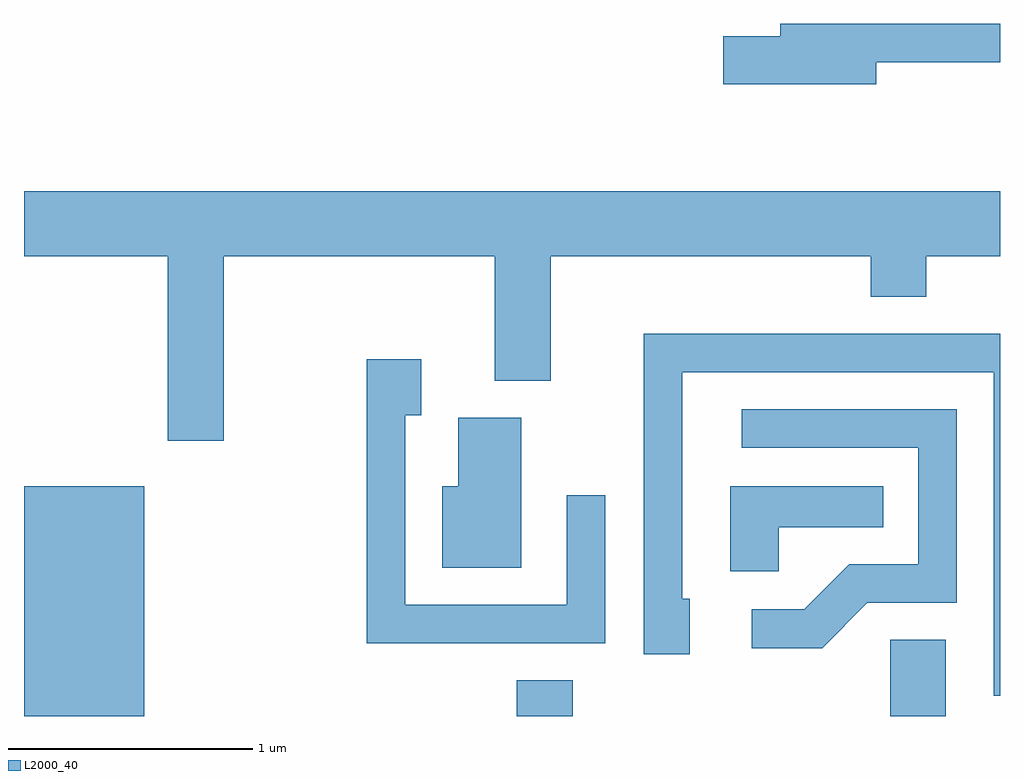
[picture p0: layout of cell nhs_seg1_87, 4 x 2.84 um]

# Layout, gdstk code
import gdstk
lib = gdstk.Library(unit=1e-6, precision=1e-09)
def R(c, l, rs):  # rectangles x0, y0, x1, y1
    for r in rs: c.add(gdstk.rectangle(r[:2], r[2:], *l))
def P(c, l, *ps):  # polygons
    for p in ps: c.add(gdstk.Polygon(p, *l))
L2000_40 = (2000, 40)

nhs_seg1_87 = lib.new_cell('nhs_seg1_87')
R(nhs_seg1_87, L2000_40, [(187.611,877.712,188.104,878.654), (189.631,877.712,189.859,877.859), (191.161,877.712,191.389,878.024)])
P(nhs_seg1_87, L2000_40, [(191.104,880.391),(191.611,880.391),(191.611,880.549),(190.711,880.549),(190.711,880.499),(190.476,880.499),(190.476,880.301),(191.104,880.301)],
  [(188.429,879.596),(189.541,879.596),(189.541,879.086),(189.769,879.086),(189.769,879.596),(191.081,879.596),(191.081,879.431),(191.309,879.431),(191.309,879.596),(191.611,879.596),(191.611,879.864),(187.611,879.864),(187.611,879.596),(188.201,879.596),(188.201,878.841),(188.429,878.841)],
  [(191.611,879.279),(190.151,879.279),(190.151,877.966),(190.339,877.966),(190.339,878.194),(190.309,878.194),(190.309,879.121),(191.586,879.121),(191.586,877.796),(191.611,877.796)],
  [(189.994,878.618),(189.836,878.618),(189.836,878.169),(189.174,878.169),(189.174,878.946),(189.239,878.946),(189.239,879.174),(189.016,879.174),(189.016,878.011),(189.994,878.011)],
  [(191.067,878.176),(191.434,878.176),(191.434,878.969),(190.553,878.969),(190.553,878.811),(191.276,878.811),(191.276,878.334),(190.994,878.334),(190.809,878.149),(190.593,878.149),(190.593,877.991),(190.882,877.991)],
  [(189.649,878.934),(189.391,878.934),(189.391,878.654),(189.326,878.654),(189.326,878.321),(189.649,878.321)],
  [(190.704,878.486),(191.133,878.486),(191.133,878.654),(190.506,878.654),(190.506,878.306),(190.704,878.306)])

lib.write_gds('nhs_seg1_87.gds')
